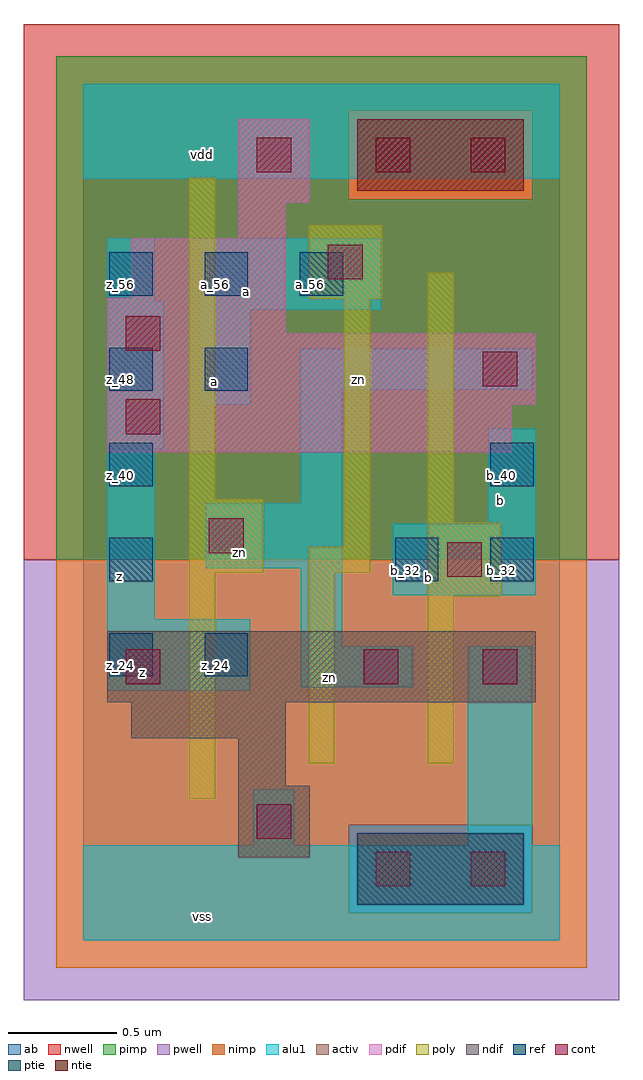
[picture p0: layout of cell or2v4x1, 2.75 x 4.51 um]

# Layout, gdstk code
import gdstk
lib = gdstk.Library(unit=1e-6, precision=2.5e-09)
def R(c, l, rs):  # rectangles x0, y0, x1, y1
    for r in rs: c.add(gdstk.rectangle(r[:2], r[2:], *l))
def A(c, l, x, y, w, h, nx, ny, dx, dy):  # array of equal rectangles
    R(c, l, [(x+i*dx, y+j*dy, x+i*dx+w, y+j*dy+h) for i in range(nx) for j in range(ny)])
ndif = (3, 0)
pdif = (4, 0)
ntie = (5, 0)
ptie = (6, 0)
ref = (24, 0)
cont = (25, 0)
pwell = (41, 0)
nwell = (42, 0)
activ = (43, 0)
pimp = (44, 0)
nimp = (45, 0)
poly = (46, 0)
alu1 = (49, 0)
ab = (63, 0)

or2v4x1 = lib.new_cell('or2v4x1')
R(or2v4x1, ndif, [(0.715,0.385,1.045,0.715), (0.715,0.715,0.935,0.935), (0.22,0.935,0.935,1.1), (0.11,1.1,2.09,1.43)])
R(or2v4x1, pdif, [(0.11,2.255,1.98,2.475), (0.11,2.475,2.09,2.805), (0.11,2.805,0.935,2.97), (0.22,2.97,0.935,3.245), (0.715,3.245,0.935,3.41), (0.715,3.41,1.045,3.795)])
R(or2v4x1, ntie, [(1.265,3.465,2.035,3.795)])
R(or2v4x1, ptie, [(1.265,0.165,2.035,0.495)])
A(or2v4x1, ref, 0.12, 1.22, 0.2, 0.2, 1, 4, 0, 0.44)
A(or2v4x1, ref, 0.12, 2.98, 0.2, 0.2, 3, 1, 0.44, 0)
R(or2v4x1, ref, [(0.56,1.22,0.76,1.42), (1.44,1.66,1.64,1.86), (1.88,1.66,2.08,1.86), (1.88,2.1,2.08,2.3), (0.56,2.54,0.76,2.74)])
R(or2v4x1, cont, [(1.35,0.25,1.51,0.41), (1.79,0.25,1.95,0.41), (0.8,0.47,0.96,0.63), (0.195,1.185,0.355,1.345), (1.295,1.185,1.455,1.345), (1.845,1.185,2.005,1.345), (1.68,1.68,1.84,1.84), (0.58,1.79,0.74,1.95), (0.195,2.34,0.355,2.5), (1.845,2.56,2.005,2.72), (0.195,2.725,0.355,2.885), (1.13,3.055,1.29,3.215), (0.8,3.55,0.96,3.71), (1.35,3.55,1.51,3.71), (1.79,3.55,1.95,3.71)])
R(or2v4x1, pwell, [(-0.275,-0.275,2.475,1.76)])
R(or2v4x1, nwell, [(-0.275,1.76,2.475,4.235)])
R(or2v4x1, activ, [(1.265,0.165,2.035,0.495), (0.715,0.385,1.045,0.715), (0.715,0.715,0.935,0.935), (0.22,0.935,0.935,1.1), (0.11,1.1,2.09,1.43), (0.11,2.255,1.98,2.475), (0.11,2.475,2.09,2.805), (0.11,2.805,0.935,2.97), (0.22,2.97,0.935,3.245), (0.715,3.245,0.935,3.41), (0.715,3.41,1.045,3.795), (1.265,3.465,2.035,3.795)])
R(or2v4x1, pimp, [(1.225,0.125,2.075,0.535), (-0.125,1.76,2.325,3.425), (-0.125,3.425,1.225,3.835), (2.075,3.425,2.325,3.835), (-0.125,3.835,2.325,4.085)])
R(or2v4x1, nimp, [(-0.125,-0.125,2.325,0.125), (-0.125,0.125,1.225,0.535), (2.075,0.125,2.325,0.535), (-0.125,0.535,2.325,1.76), (1.225,3.425,2.075,3.835)])
R(or2v4x1, poly, [(0.49,0.655,0.61,1.7), (1.04,0.82,1.16,1.7), (1.59,0.82,1.71,1.59), (1.59,1.59,1.93,1.93), (0.49,1.7,0.83,2.04), (1.04,1.7,1.325,1.82), (1.205,1.82,1.325,2.965), (1.59,1.93,1.71,3.085), (0.49,2.04,0.61,3.525), (1.04,2.965,1.38,3.305)])
R(or2v4x1, alu1, [(0,0,2.2,0.44), (0.785,0.44,0.975,0.7), (1.775,0.44,2.075,1.36), (0.11,1.155,0.77,1.485), (1.005,1.17,1.525,1.36), (1.005,1.36,1.195,1.72), (0.11,1.485,0.33,2.27), (1.43,1.595,2.09,1.925), (0.565,1.72,1.195,2.02), (1.87,1.925,2.09,2.365), (1.005,2.02,1.195,2.545), (0.11,2.27,0.37,2.955), (0.55,2.475,0.77,2.915), (1.005,2.545,2.075,2.735), (0.55,2.915,1.375,3.245), (0.11,2.955,0.33,3.245), (0,3.52,2.2,3.96)])
R(or2v4x1, ab, [(0,0,2.2,3.96)])
or2v4x1.add(gdstk.Label('vss', (0.55,0.11), layer=49, texttype=0))
or2v4x1.add(gdstk.Label('zn', (1.135,1.2175), layer=49, texttype=0))
or2v4x1.add(gdstk.Label('b', (1.595,1.6775), layer=49, texttype=0))
or2v4x1.add(gdstk.Label('z', (0.275,1.2375), layer=49, texttype=0))
or2v4x1.add(gdstk.Label('b', (1.925,2.035), layer=49, texttype=0))
or2v4x1.add(gdstk.Label('zn', (0.7225,1.795), layer=49, texttype=0))
or2v4x1.add(gdstk.Label('z', (0.165,1.68), layer=49, texttype=0))
or2v4x1.add(gdstk.Label('zn', (1.2725,2.5925), layer=49, texttype=0))
or2v4x1.add(gdstk.Label('a', (0.605,2.585), layer=49, texttype=0))
or2v4x1.add(gdstk.Label('a', (0.755,2.9975), layer=49, texttype=0))
or2v4x1.add(gdstk.Label('vdd', (0.55,3.63), layer=49, texttype=0))
or2v4x1.add(gdstk.Label('z_24', (0.61,1.27), layer=24, texttype=0))
or2v4x1.add(gdstk.Label('a_48', (0.61,2.59), layer=24, texttype=0))
or2v4x1.add(gdstk.Label('a_56', (0.61,3.03), layer=24, texttype=0))
or2v4x1.add(gdstk.Label('a_56', (1.05,3.03), layer=24, texttype=0))
or2v4x1.add(gdstk.Label('b_32', (1.49,1.71), layer=24, texttype=0))
or2v4x1.add(gdstk.Label('b_32', (1.93,1.71), layer=24, texttype=0))
or2v4x1.add(gdstk.Label('b_40', (1.93,2.15), layer=24, texttype=0))
or2v4x1.add(gdstk.Label('z_24', (0.17,1.27), layer=24, texttype=0))
or2v4x1.add(gdstk.Label('z_32', (0.17,1.71), layer=24, texttype=0))
or2v4x1.add(gdstk.Label('z_40', (0.17,2.15), layer=24, texttype=0))
or2v4x1.add(gdstk.Label('z_48', (0.17,2.59), layer=24, texttype=0))
or2v4x1.add(gdstk.Label('z_56', (0.17,3.03), layer=24, texttype=0))

lib.write_gds('or2v4x1.gds')
